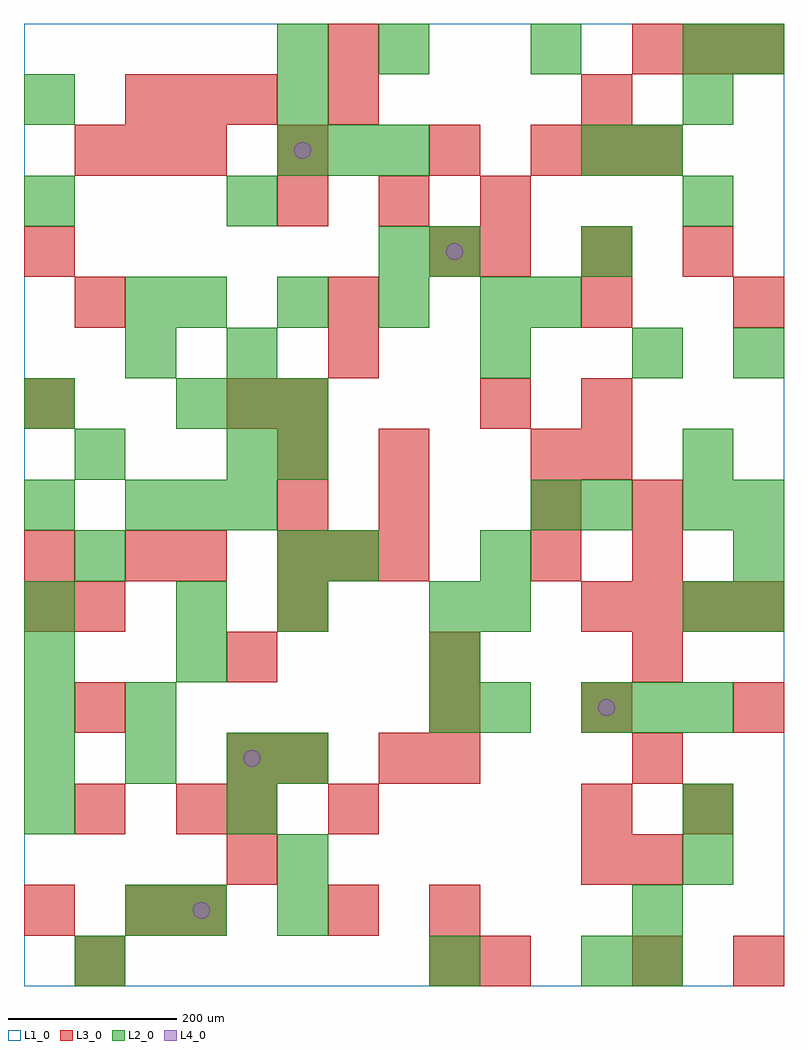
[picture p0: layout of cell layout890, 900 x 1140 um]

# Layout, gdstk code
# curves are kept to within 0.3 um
import gdstk
lib = gdstk.Library(unit=1e-6, precision=1e-09)
def R(c, l, rs):  # rectangles x0, y0, x1, y1
    for r in rs: c.add(gdstk.rectangle(r[:2], r[2:], *l))
def A(c, l, x, y, w, h, nx, ny, dx, dy):  # array of equal rectangles
    R(c, l, [(x+i*dx, y+j*dy, x+i*dx+w, y+j*dy+h) for i in range(nx) for j in range(ny)])
def P(c, l, *ps):  # polygons
    for p in ps: c.add(gdstk.Polygon(p, *l))
L1_0 = (1, 0)
L2_0 = (2, 0)
L3_0 = (3, 0)
L4_0 = (4, 0)

layout890 = lib.new_cell('layout890')
R(layout890, L1_0, [(0,0,900,1140)])
A(layout890, L2_0, 0, 240, 60, 60, 3, 1, 120, 0)
A(layout890, L2_0, 0, 300, 60, 60, 1, 3, 0, 60)
A(layout890, L2_0, 480, 300, 60, 60, 1, 3, 0, 60)
A(layout890, L2_0, 660, 300, 60, 60, 3, 1, 60, 0)
A(layout890, L2_0, 840, 420, 60, 60, 1, 3, 0, 60)
A(layout890, L2_0, 120, 540, 60, 60, 3, 1, 60, 0)
A(layout890, L2_0, 180, 660, 60, 60, 3, 1, 60, 0)
A(layout890, L2_0, 180, 780, 60, 60, 4, 1, 120, 0)
A(layout890, L2_0, 300, 960, 60, 60, 3, 1, 60, 0)
A(layout890, L2_0, 420, 1080, 60, 60, 3, 1, 180, 0)
R(layout890, L2_0, [(60,0,120,60), (480,0,540,60), (660,0,720,60), (720,0,780,60), (120,60,180,120), (180,60,240,120), (300,60,360,120), (720,60,780,120), (300,120,360,180), (780,120,840,180), (0,180,60,240), (240,180,300,240), (780,180,840,240), (300,240,360,300), (120,300,180,360), (540,300,600,360), (180,360,240,420), (180,420,240,480), (300,420,360,480), (540,420,600,480), (780,420,840,480), (60,480,120,540), (300,480,360,540), (360,480,420,540), (540,480,600,540), (0,540,60,600), (600,540,660,600), (660,540,720,600), (780,540,840,600), (60,600,120,660), (240,600,300,660), (300,600,360,660), (780,600,840,660), (0,660,60,720), (120,720,180,780), (240,720,300,780), (540,720,600,780), (720,720,780,780), (840,720,900,780), (120,780,180,840), (600,780,660,840), (420,840,480,900), (480,840,540,900), (660,840,720,900), (0,900,60,960), (240,900,300,960), (780,900,840,960), (660,960,720,1020), (720,960,780,1020), (0,1020,60,1080), (300,1020,360,1080), (780,1020,840,1080), (300,1080,360,1140), (840,1080,900,1140)])
A(layout890, L3_0, 720, 0, 60, 60, 1, 3, 0, 120)
A(layout890, L3_0, 240, 120, 60, 60, 1, 3, 0, 60)
A(layout890, L3_0, 60, 180, 60, 60, 1, 3, 0, 120)
A(layout890, L3_0, 480, 300, 60, 60, 3, 1, 180, 0)
A(layout890, L3_0, 240, 360, 60, 60, 3, 1, 240, 0)
A(layout890, L3_0, 660, 420, 60, 60, 4, 1, 60, 0)
A(layout890, L3_0, 0, 480, 60, 60, 1, 3, 0, 180)
A(layout890, L3_0, 300, 480, 60, 60, 3, 1, 60, 0)
A(layout890, L3_0, 600, 480, 60, 60, 1, 3, 0, 60)
A(layout890, L3_0, 300, 540, 60, 60, 1, 3, 0, 60)
A(layout890, L3_0, 60, 780, 60, 60, 3, 1, 300, 0)
A(layout890, L3_0, 540, 840, 60, 60, 3, 1, 120, 0)
A(layout890, L3_0, 300, 900, 60, 60, 3, 1, 120, 0)
A(layout890, L3_0, 60, 960, 60, 60, 3, 1, 60, 0)
A(layout890, L3_0, 600, 960, 60, 60, 3, 1, 60, 0)
A(layout890, L3_0, 120, 1020, 60, 60, 3, 1, 60, 0)
A(layout890, L3_0, 720, 1080, 60, 60, 3, 1, 60, 0)
R(layout890, L3_0, [(60,0,120,60), (480,0,540,60), (540,0,600,60), (840,0,900,60), (0,60,60,120), (120,60,180,120), (180,60,240,120), (360,60,420,120), (480,60,540,120), (660,120,720,180), (180,180,240,240), (360,180,420,240), (660,180,720,240), (780,180,840,240), (300,240,360,300), (420,240,480,300), (480,240,540,300), (0,420,60,480), (300,420,360,480), (120,480,180,540), (180,480,240,540), (720,480,780,540), (420,540,480,600), (720,540,780,600), (420,600,480,660), (660,600,720,660), (240,660,300,720), (540,660,600,720), (660,660,720,720), (360,720,420,780), (840,780,900,840), (480,840,540,900), (300,960,360,1020), (480,960,540,1020), (360,1020,420,1080), (660,1020,720,1080), (360,1080,420,1140)])
P(layout890, L4_0, [(220,90),(219.239,93.827),(217.071,97.071),(213.827,99.239),(210,100),(206.173,99.239),(202.929,97.071),(200.761,93.827),(200,90),(200.761,86.173),(202.929,82.929),(206.173,80.761),(210,80),(213.827,80.761),(217.071,82.929),(219.239,86.173)],
  [(280,270),(279.239,273.827),(277.071,277.071),(273.827,279.239),(270,280),(266.173,279.239),(262.929,277.071),(260.761,273.827),(260,270),(260.761,266.173),(262.929,262.929),(266.173,260.761),(270,260),(273.827,260.761),(277.071,262.929),(279.239,266.173)],
  [(340,990),(339.239,993.827),(337.071,997.071),(333.827,999.239),(330,1000),(326.173,999.239),(322.929,997.071),(320.761,993.827),(320,990),(320.761,986.173),(322.929,982.929),(326.173,980.761),(330,980),(333.827,980.761),(337.071,982.929),(339.239,986.173)],
  [(520,870),(519.239,873.827),(517.071,877.071),(513.827,879.239),(510,880),(506.173,879.239),(502.929,877.071),(500.761,873.827),(500,870),(500.761,866.173),(502.929,862.929),(506.173,860.761),(510,860),(513.827,860.761),(517.071,862.929),(519.239,866.173)],
  [(700,330),(699.239,333.827),(697.071,337.071),(693.827,339.239),(690,340),(686.173,339.239),(682.929,337.071),(680.761,333.827),(680,330),(680.761,326.173),(682.929,322.929),(686.173,320.761),(690,320),(693.827,320.761),(697.071,322.929),(699.239,326.173)])

lib.write_gds('layout890.gds')
